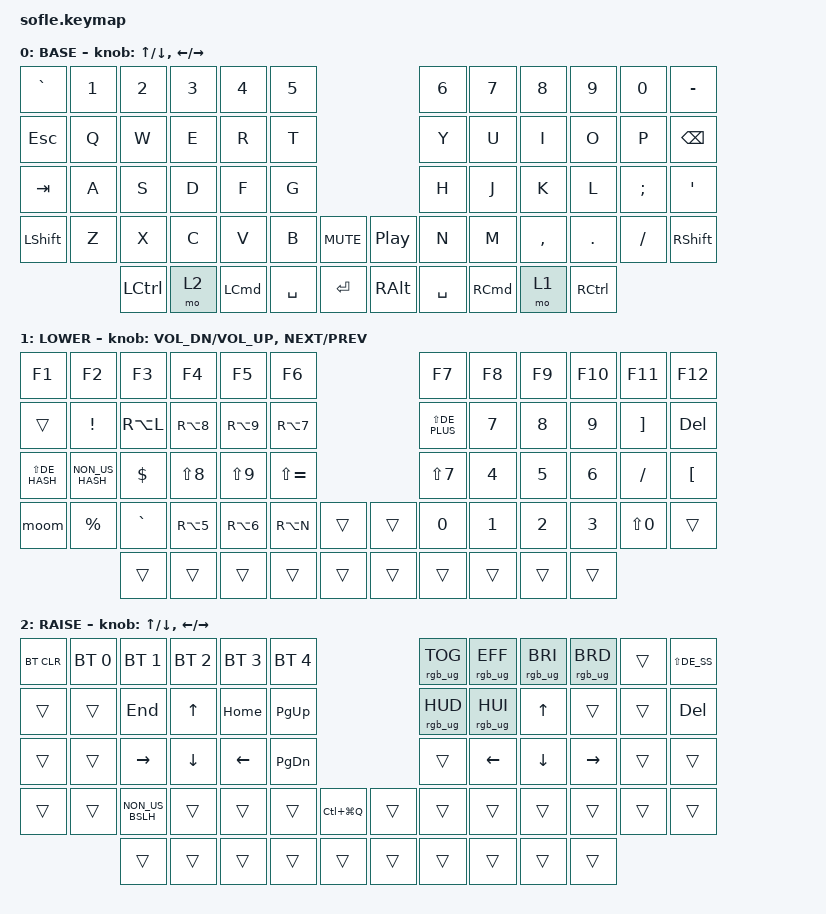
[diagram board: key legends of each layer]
#include <behaviors.dtsi>
#include <dt-bindings/zmk/bt.h>
#include <dt-bindings/zmk/keys.h>
#include <dt-bindings/zmk/rgb.h>

/* DEUTSCHES LAYOUT ALIASE */

#define DE_Z    Y
#define DE_Y    Z
#define DE_ADIA SEMI
#define DE_ODIA SQT
#define DE_UDIA LBKT
#define DE_SS   MINUS
#define DE_CIRC GRAVE
#define DE_PLUS RBKT
#define DE_HASH NON_US_HASH
#define DE_LESS NON_US_BSLH

/ {
    macros {
        moom: moom {
            compatible = "zmk,behavior-macro";
            #binding-cells = <0>;
            bindings = <&kp LC(LA(LG(DOWN)))>;
        };
    };

    keymap {
        compatible = "zmk,keymap";

        default_layer {
            label = "BASE";

            // Zeile 0: 12 Tasten
            // Zeile 1: 12 Tasten
            // Zeile 2: 12 Tasten
            // Zeile 3: 14 Tasten (inkl. Encoder-Knöpfe in der Mitte)
            // Zeile 4: 10 Tasten (Daumenreihe)

            bindings = <
&kp DE_CIRC  &kp N1    &kp N2     &kp N3  &kp N4    &kp N5                             &kp N6     &kp N7    &kp N8     &kp N9     &kp N0       &kp DE_SS
&kp ESC      &kp Q     &kp W      &kp E   &kp R     &kp T                              &kp DE_Z   &kp U     &kp I      &kp O      &kp P        &kp BSPC
&kp TAB      &kp A     &kp S      &kp D   &kp F     &kp G                              &kp H      &kp J     &kp K      &kp L      &kp DE_ADIA  &kp DE_ODIA
&kp LSHFT    &kp DE_Y  &kp X      &kp C   &kp V     &kp B      &kp C_MUTE    &kp C_PP  &kp N      &kp M     &kp COMMA  &kp DOT    &kp SLASH    &kp RSHFT
                       &kp LCTRL  &mo 2   &kp LCMD  &kp SPACE  &kp ENTER     &kp RALT  &kp SPACE  &kp RCMD  &mo 1      &kp RCTRL
            >;

            sensor-bindings = <&inc_dec_kp UP DOWN &inc_dec_kp LEFT RIGHT>;
        };

        lower_layer {
            label = "LOWER";
            bindings = <
&kp F1          &kp F2       &kp F3       &kp F4      &kp F5      &kp F6                          &kp F7            &kp F8  &kp F9  &kp F10  &kp F11      &kp F12
&trans          &kp EXCL     &kp RA(L)    &kp RA(N8)  &kp RA(N9)  &kp RA(N7)                      &kp LS(DE_PLUS)   &kp N7  &kp N8  &kp N9   &kp DE_PLUS  &kp DEL
&kp LS(DE_HASH) &kp DE_HASH  &kp DLLR     &kp LS(N8)  &kp LS(N9)  &kp LS(EQUAL)                   &kp LS(N7)        &kp N4  &kp N5  &kp N6   &kp SLASH    &kp DE_UDIA
&moom           &kp PRCNT    &kp DE_CIRC  &kp RA(N5)  &kp RA(N6)  &kp RA(N)     &trans    &trans  &kp N0            &kp N1  &kp N2  &kp N3   &kp LS(N0)    &trans
                      &trans       &trans      &trans      &trans               &trans    &trans  &trans            &trans  &trans  &trans
            >;

            sensor-bindings =
                <&inc_dec_kp C_VOL_DN C_VOL_UP>,
                <&inc_dec_kp C_NEXT C_PREV>;
        };

        raise_layer {
            label = "RAISE";
            bindings = <
&bt BT_CLR  &bt BT_SEL 0  &bt BT_SEL 1  &bt BT_SEL 2  &bt BT_SEL 3  &bt BT_SEL 4                           &rgb_ug RGB_TOG  &rgb_ug RGB_EFF  &rgb_ug RGB_BRI  &rgb_ug RGB_BRD  &trans  &kp LS(DE_SS)
&trans      &trans        &kp END       &kp UP        &kp HOME      &kp PG_UP                              &rgb_ug RGB_HUD  &rgb_ug RGB_HUI  &kp UP           &trans           &trans  &kp DEL
&trans      &trans        &kp RIGHT     &kp DOWN      &kp LEFT      &kp PG_DN                              &trans           &kp LEFT         &kp DOWN         &kp RIGHT        &trans  &trans
&trans      &trans        &kp DE_LESS   &trans        &trans        &trans        &kp LC(LG(Q))    &trans  &trans           &trans           &trans           &trans           &trans  &trans
                          &trans        &trans        &trans        &trans        &trans           &trans  &trans           &trans           &trans           &trans
            >;

            sensor-bindings = <&inc_dec_kp UP DOWN &inc_dec_kp LEFT RIGHT>;
        };
    };
};
